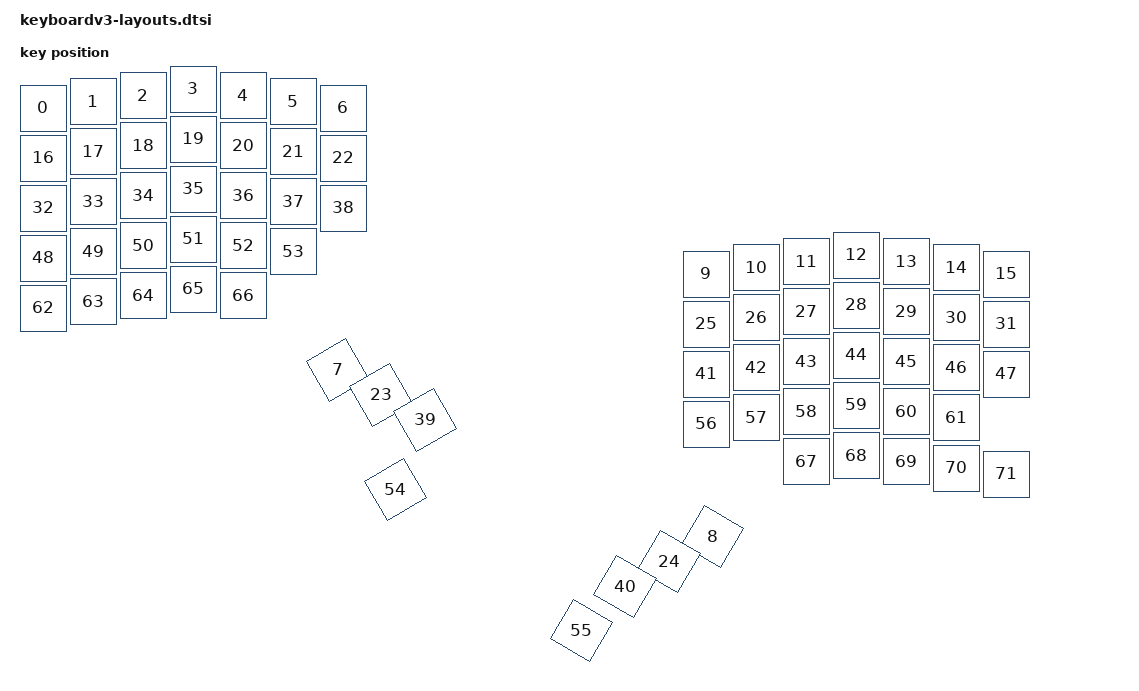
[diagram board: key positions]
#include <physical_layouts.dtsi>

/ {
    physical_layout0: physical_layout_0 {
        compatible = "zmk,physical-layout";
        display-name = "Default";

        keys
            //                    w    h     x    y      rot      rx    ry
            = <&key_physical_attrs 100 100    0   38       0       0     0>
            , <&key_physical_attrs 100 100  100   25       0       0     0>
            , <&key_physical_attrs 100 100  200   13       0       0     0>
            , <&key_physical_attrs 100 100  300    0       0       0     0>
            , <&key_physical_attrs 100 100  400   13       0       0     0>
            , <&key_physical_attrs 100 100  500   25       0       0     0>
            , <&key_physical_attrs 100 100  600   38       0       0     0>
            , <&key_physical_attrs 100 100  589  562 (-3000)     639   612>

            , <&key_physical_attrs 100 100 1339  895   3000      1389   945>
            , <&key_physical_attrs 100 100 1326  370      0         0     0>
            , <&key_physical_attrs 100 100 1426  357      0         0     0>
            , <&key_physical_attrs 100 100 1526  345      0         0     0>
            , <&key_physical_attrs 100 100 1626  332      0         0     0>
            , <&key_physical_attrs 100 100 1726  345      0         0     0>
            , <&key_physical_attrs 100 100 1826  357      0         0     0>
            , <&key_physical_attrs 100 100 1926  370      0         0     0>

            , <&key_physical_attrs 100 100    0  138       0         0     0>
            , <&key_physical_attrs 100 100  100  125       0         0     0>
            , <&key_physical_attrs 100 100  200  113       0         0     0>
            , <&key_physical_attrs 100 100  300  100       0         0     0>
            , <&key_physical_attrs 100 100  400  113       0         0     0>
            , <&key_physical_attrs 100 100  500  125       0         0     0>
            , <&key_physical_attrs 100 100  600  138       0         0     0>
            , <&key_physical_attrs 100 100  676  612 (-3000)      726   662>

            , <&key_physical_attrs 100 100 1252  945   3000      1302   995>
            , <&key_physical_attrs 100 100 1326  470      0         0     0>
            , <&key_physical_attrs 100 100 1426  457      0         0     0>
            , <&key_physical_attrs 100 100 1526  445      0         0     0>
            , <&key_physical_attrs 100 100 1626  432      0         0     0>
            , <&key_physical_attrs 100 100 1726  445      0         0     0>
            , <&key_physical_attrs 100 100 1826  457      0         0     0>
            , <&key_physical_attrs 100 100 1926  470      0         0     0>

            , <&key_physical_attrs 100 100    0  238       0         0     0>
            , <&key_physical_attrs 100 100  100  225       0         0     0>
            , <&key_physical_attrs 100 100  200  213       0         0     0>
            , <&key_physical_attrs 100 100  300  200       0         0     0>
            , <&key_physical_attrs 100 100  400  213       0         0     0>
            , <&key_physical_attrs 100 100  500  225       0         0     0>
            , <&key_physical_attrs 100 100  600  238       0         0     0>
            , <&key_physical_attrs 100 100  764  662 (-3000)      814   712>

            , <&key_physical_attrs 100 100 1164  995   3000      1214  1045>
            , <&key_physical_attrs 100 100 1326  570      0         0     0>
            , <&key_physical_attrs 100 100 1426  557      0         0     0>
            , <&key_physical_attrs 100 100 1526  545      0         0     0>
            , <&key_physical_attrs 100 100 1626  532      0         0     0>
            , <&key_physical_attrs 100 100 1726  545      0         0     0>
            , <&key_physical_attrs 100 100 1826  557      0         0     0>
            , <&key_physical_attrs 100 100 1926  570      0         0     0>

            , <&key_physical_attrs 100 100    0  338       0         0     0>
            , <&key_physical_attrs 100 100  100  325       0         0     0>
            , <&key_physical_attrs 100 100  200  313       0         0     0>
            , <&key_physical_attrs 100 100  300  300       0         0     0>
            , <&key_physical_attrs 100 100  400  313       0         0     0>
            , <&key_physical_attrs 100 100  500  325       0         0     0>
            , <&key_physical_attrs 100 100  705  801 (-3000)      755   851>

            , <&key_physical_attrs 100 100 1077 1083   3000      1127  1133>
            , <&key_physical_attrs 100 100 1326  670      0         0     0>
            , <&key_physical_attrs 100 100 1426  657      0         0     0>
            , <&key_physical_attrs 100 100 1526  645      0         0     0>
            , <&key_physical_attrs 100 100 1626  632      0         0     0>
            , <&key_physical_attrs 100 100 1726  645      0         0     0>
            , <&key_physical_attrs 100 100 1826  657      0         0     0>

            , <&key_physical_attrs 100 100    0  438       0         0     0>
            , <&key_physical_attrs 100 100  100  425       0         0     0>
            , <&key_physical_attrs 100 100  200  413       0         0     0>
            , <&key_physical_attrs 100 100  300  400       0         0     0>
            , <&key_physical_attrs 100 100  400  413       0         0     0>

            , <&key_physical_attrs 100 100 1526  745       0         0     0>
            , <&key_physical_attrs 100 100 1626  733       0         0     0>
            , <&key_physical_attrs 100 100 1726  745       0         0     0>
            , <&key_physical_attrs 100 100 1826  758       0         0     0>
            , <&key_physical_attrs 100 100 1926  770       0         0     0>
            ;
    };
};
